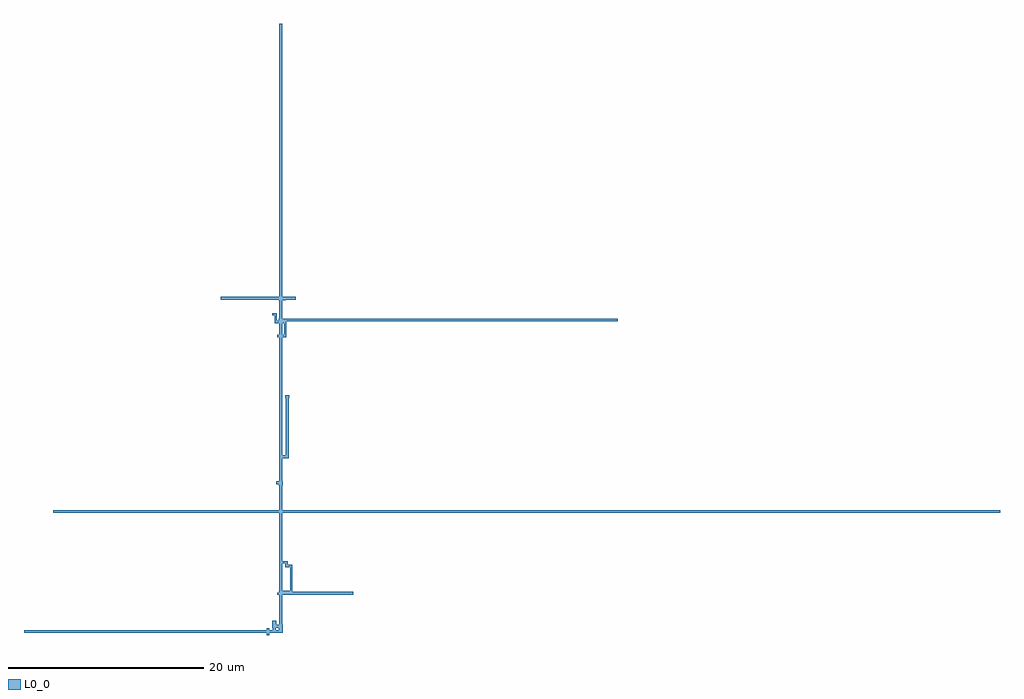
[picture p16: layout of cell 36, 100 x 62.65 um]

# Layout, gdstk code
import gdstk
lib = gdstk.Library(unit=1e-6, precision=1e-09)
def P(c, l, *ps):  # polygons
    for p in ps: c.add(gdstk.Polygon(p, *l))
L0_0 = (0, 0)

c_36 = lib.new_cell('36')
P(c_36, L0_0, [(924.875,937.835),(926.31,937.835),(926.31,937.605),(924.875,937.605),(924.875,937.835)],
  [(924.8,937.86),(925.18,937.86),(925.18,937.58),(924.8,937.58),(924.8,937.86)],
  [(926.5,938.345),(926.5,937.58),(926.12,937.58),(926.12,938.345),(926.5,938.345)],
  [(925.84,938.815),(925.84,938.14),(925.41,938.14),(925.41,938.815),(925.84,938.815)],
  [(925.46,938.42),(925.84,938.42),(925.84,938.14),(925.46,938.14),(925.46,938.42)],
  [(926.12,952.98),(926.5,952.98),(926.5,952.7),(926.12,952.7),(926.12,952.98)],
  [(926.5,952.7),(926.12,952.7),(926.12,952.81),(925.87,952.81),(925.87,953.15),(926.5,953.15),(926.5,952.7)],
  [(926.12,971.68),(926.12,972.02),(926.84,972.02),(926.84,971.68),(926.12,971.68)],
  [(926.12,972.02),(926.5,972.02),(926.5,971.74),(926.12,971.74),(926.12,972.02)],
  [(925.925,968.135),(926.65,968.135),(926.65,969.34),(925.69,969.34),(925.69,970.135),(925.455,970.135),(925.455,970.365),(925.92,970.365),(925.92,969.57),(926.88,969.57),(926.88,967.905),(925.925,967.905),(925.925,968.135)],
  [(926.12,941.78),(926.5,941.78),(926.5,941.5),(926.12,941.5),(926.12,941.78)],
  [(927.005,944.945),(927.005,944.555),(927.495,944.555),(927.495,941.685),(926.685,941.685),(926.685,941.495),(925.935,941.495),(925.935,941.725),(926.425,941.725),(926.425,941.755),(926.455,941.755),(926.455,941.915),(927.265,941.915),(927.265,944.3),(927.16,944.3),(927.16,944.325),(926.775,944.325),(926.775,944.715),(926.205,944.715),(926.205,944.945),(927.005,944.945)],
  [(926.17,952.7),(926.17,955.78),(926.45,955.78),(926.45,952.7),(926.17,952.7)],
  [(926.17,955.78),(927.11,955.78),(927.11,955.5),(926.17,955.5),(926.17,955.78)],
  [(926.83,955.5),(926.83,961.94),(927.11,961.94),(927.11,955.5),(926.83,955.5)],
  [(926.12,952.98),(926.5,952.98),(926.5,952.7),(926.12,952.7),(926.12,952.98)],
  [(926.78,961.94),(927.16,961.94),(927.16,961.66),(926.78,961.66),(926.78,961.94)],
  [(926.12,972.02),(926.5,972.02),(926.5,971.74),(926.12,971.74),(926.12,972.02)],
  [(926.17,969.5),(926.17,972.02),(926.45,972.02),(926.45,969.5),(926.17,969.5)],
  [(926.12,969.78),(926.5,969.78),(926.5,969.5),(926.12,969.5),(926.12,969.78)],
  [(926.17,942.01),(926.45,942.01),(926.45,941.27),(926.17,941.27),(926.17,942.01)],
  [(926.12,941.78),(926.5,941.78),(926.5,941.5),(926.12,941.5),(926.12,941.78)],
  [(924.85,938.09),(925.13,938.09),(925.13,937.35),(924.85,937.35),(924.85,938.09)],
  [(924.8,937.86),(925.18,937.86),(925.18,937.58),(924.8,937.58),(924.8,937.86)],
  [(925.46,938.42),(925.84,938.42),(925.84,938.14),(925.46,938.14),(925.46,938.42)],
  [(925.51,938.65),(925.79,938.65),(925.79,937.91),(925.51,937.91),(925.51,938.65)],
  [(926.17,941.78),(933.71,941.78),(933.71,941.5),(926.17,941.5),(926.17,941.78)],
  [(933.38,941.78),(933.76,941.78),(933.76,941.5),(933.38,941.5),(933.38,941.78)],
  [(926.12,941.78),(926.5,941.78),(926.5,941.5),(926.12,941.5),(926.12,941.78)],
  [(927.44,972.02),(927.82,972.02),(927.82,971.74),(927.44,971.74),(927.44,972.02)],
  [(920.23,972.02),(927.77,972.02),(927.77,971.74),(920.23,971.74),(920.23,972.02)],
  [(920.18,972.02),(920.56,972.02),(920.56,971.74),(920.18,971.74),(920.18,972.02)],
  [(959.17,969.78),(960.77,969.78),(960.77,969.5),(959.17,969.5),(959.17,969.78)],
  [(926.17,969.78),(959.45,969.78),(959.45,969.5),(926.17,969.5),(926.17,969.78)],
  [(959.12,969.78),(959.5,969.78),(959.5,969.5),(959.12,969.5),(959.12,969.78)],
  [(926.12,969.78),(926.5,969.78),(926.5,969.5),(926.12,969.5),(926.12,969.78)],
  [(960.44,969.78),(960.82,969.78),(960.82,969.5),(960.44,969.5),(960.44,969.78)],
  [(926.12,969.78),(926.5,969.78),(926.5,969.5),(926.12,969.5),(926.12,969.78)],
  [(926.17,969.78),(959.45,969.78),(959.45,969.5),(926.17,969.5),(926.17,969.78)],
  [(959.12,969.78),(959.5,969.78),(959.5,969.5),(959.12,969.5),(959.12,969.78)],
  [(900,937.86),(925.13,937.86),(925.13,937.58),(900,937.58),(900,937.86)],
  [(924.8,937.86),(925.18,937.86),(925.18,937.58),(924.8,937.58),(924.8,937.86)],
  [(925.46,938.42),(925.84,938.42),(925.84,938.14),(925.46,938.14),(925.46,938.42)],
  [(925.51,938.42),(926.45,938.42),(926.45,938.14),(925.51,938.14),(925.51,938.42)],
  [(926.12,938.42),(926.5,938.42),(926.5,938.14),(926.12,938.14),(926.12,938.42)],
  [(926.78,950.18),(927.16,950.18),(927.16,949.9),(926.78,949.9),(926.78,950.18)],
  [(926.83,950.18),(959.45,950.18),(959.45,949.9),(926.83,949.9),(926.83,950.18)],
  [(959.12,950.18),(959.5,950.18),(959.5,949.9),(959.12,949.9),(959.12,950.18)],
  [(926.45,1000),(926.45,949.9),(926.17,949.9),(926.17,1000),(926.45,1000)],
  [(926.17,950.18),(927.11,950.18),(927.11,949.9),(926.17,949.9),(926.17,950.18)],
  [(926.17,938.14),(926.17,950.18),(926.45,950.18),(926.45,938.14),(926.17,938.14)],
  [(926.12,938.42),(926.5,938.42),(926.5,938.14),(926.12,938.14),(926.12,938.42)],
  [(926.78,950.18),(927.16,950.18),(927.16,949.9),(926.78,949.9),(926.78,950.18)],
  [(926.78,950.18),(927.16,950.18),(927.16,949.9),(926.78,949.9),(926.78,950.18)],
  [(926.17,950.18),(927.11,950.18),(927.11,949.9),(926.17,949.9),(926.17,950.18)],
  [(926.17,938.14),(926.17,950.18),(926.45,950.18),(926.45,938.14),(926.17,938.14)],
  [(926.17,938.14),(926.17,950.18),(926.45,950.18),(926.45,938.14),(926.17,938.14)],
  [(926.12,938.42),(926.5,938.42),(926.5,938.14),(926.12,938.14),(926.12,938.42)],
  [(903.02,950.18),(903.4,950.18),(903.4,949.9),(903.02,949.9),(903.02,950.18)],
  [(974.3,950.18),(974.68,950.18),(974.68,949.9),(974.3,949.9),(974.3,950.18)],
  [(903.07,950.18),(974.63,950.18),(974.63,949.9),(903.07,949.9),(903.07,950.18)],
  [(1000,949.9),(974.35,949.9),(974.35,950.18),(1000,950.18),(1000,949.9)])

lib.write_gds('36.gds')
